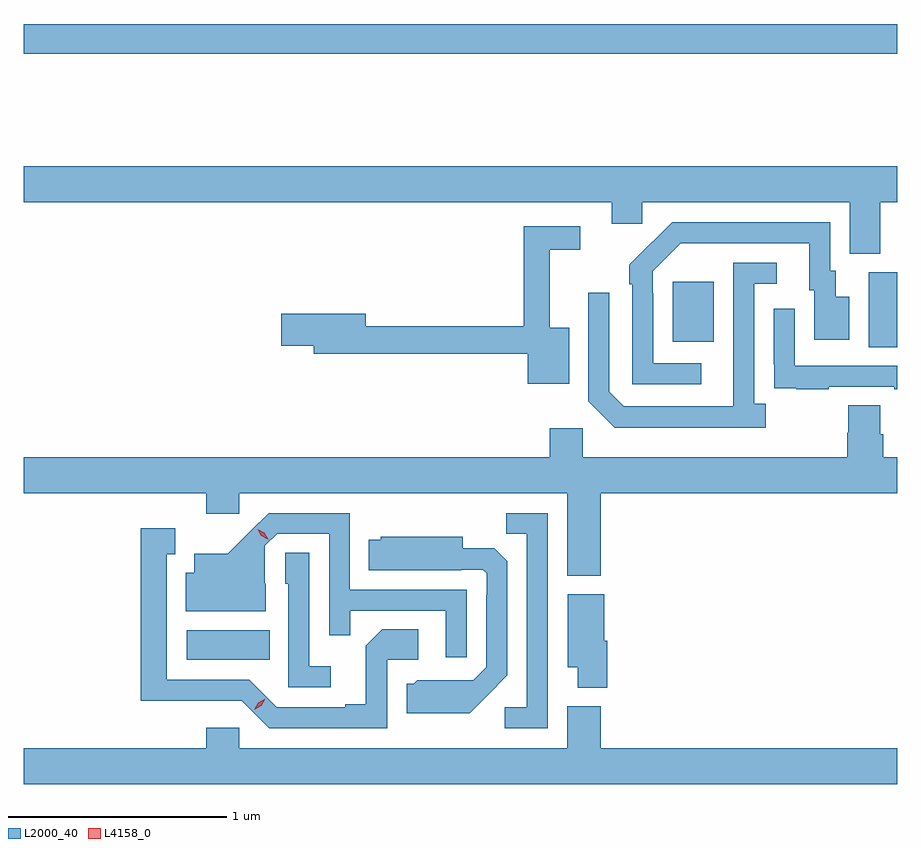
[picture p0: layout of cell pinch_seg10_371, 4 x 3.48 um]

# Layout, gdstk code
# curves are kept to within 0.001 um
import gdstk
lib = gdstk.Library(unit=1e-6, precision=1e-09)
def R(c, l, rs):  # rectangles x0, y0, x1, y1
    for r in rs: c.add(gdstk.rectangle(r[:2], r[2:], *l))
def P(c, l, *ps):  # polygons
    for p in ps: c.add(gdstk.Polygon(p, *l))
L2000_40 = (2000, 40)
L4158_0 = (4158, 0)

pinch_seg10_371 = lib.new_cell('pinch_seg10_371')
R(pinch_seg10_371, L2000_40, [(597.804,1256.93,598.184,1257.064), (600.926,1258.36,601.057,1258.704), (600.029,1258.385,600.217,1258.66), (597.057,1259.704,601.057,1259.84)])
P(pinch_seg10_371, L2000_40, [(600.979,1259.024),(601.057,1259.024),(601.057,1259.188),(597.057,1259.188),(597.057,1259.024),(599.75,1259.024),(599.75,1258.926),(599.889,1258.926),(599.889,1259.024),(600.839,1259.024),(600.839,1258.789),(600.979,1258.789)],
  [(600.16,1258.287),(599.94,1258.287),(599.94,1258.607),(599.937,1258.607),(599.937,1258.707),(600.066,1258.836),(600.653,1258.836),(600.653,1258.62),(600.677,1258.62),(600.677,1258.395),(600.838,1258.395),(600.838,1258.591),(600.775,1258.591),(600.775,1258.71),(600.75,1258.71),(600.75,1258.932),(600.026,1258.932),(599.829,1258.737),(599.829,1258.649),(599.844,1258.649),(599.844,1258.191),(600.16,1258.191)],
  [(599.554,1258.45),(599.465,1258.45),(599.465,1258.806),(599.605,1258.806),(599.605,1258.914),(599.347,1258.914),(599.347,1258.457),(598.624,1258.457),(598.624,1258.514),(598.236,1258.514),(598.236,1258.367),(598.385,1258.367),(598.385,1258.329),(599.366,1258.329),(599.366,1258.193),(599.554,1258.193)],
  [(600.454,1258.102),(600.402,1258.102),(600.402,1258.65),(600.505,1258.65),(600.505,1258.746),(600.306,1258.746),(600.305,1258.089),(599.805,1258.089),(599.739,1258.155),(599.739,1258.609),(599.643,1258.609),(599.643,1258.113),(599.764,1257.992),(600.454,1257.992)],
  [(600.743,1258.179),(601.043,1258.179),(601.043,1258.167),(601.057,1258.167),(601.057,1258.275),(600.588,1258.275),(600.588,1258.537),(600.492,1258.537),(600.492,1258.282),(600.493,1258.282),(600.493,1258.173),(600.595,1258.173),(600.595,1258.167),(600.743,1258.167)],
  [(599.699,1257.692),(601.057,1257.692),(601.057,1257.856),(600.992,1257.856),(600.992,1257.962),(600.979,1257.962),(600.979,1258.094),(600.832,1258.094),(600.832,1257.969),(600.827,1257.969),(600.827,1257.856),(599.616,1257.856),(599.616,1257.988),(599.465,1257.988),(599.465,1257.856),(597.057,1257.856),(597.057,1257.692),(597.893,1257.692),(597.893,1257.597),(598.044,1257.597),(598.044,1257.692),(599.546,1257.692),(599.546,1257.314),(599.699,1257.314)],
  [(599.457,1257.6),(599.266,1257.6),(599.266,1257.505),(599.361,1257.505),(599.361,1256.712),(599.259,1256.712),(599.259,1256.616),(599.457,1256.616)],
  [(599.085,1257.249),(598.551,1257.249),(598.551,1257.6),(598.178,1257.6),(597.991,1257.415),(597.839,1257.415),(597.839,1257.328),(597.8,1257.328),(597.8,1257.152),(598.165,1257.152),(598.165,1257.276),(598.161,1257.276),(598.161,1257.45),(598.218,1257.507),(598.455,1257.507),(598.455,1257.04),(598.553,1257.04),(598.553,1257.153),(598.989,1257.153),(598.989,1256.94),(599.085,1256.94)],
  [(598.722,1256.928),(598.864,1256.928),(598.864,1257.068),(598.699,1257.068),(598.623,1256.992),(598.623,1256.725),(598.529,1256.725),(598.529,1256.712),(598.215,1256.712),(598.089,1256.838),(597.712,1256.838),(597.712,1257.411),(597.751,1257.411),(597.751,1257.532),(597.594,1257.532),(597.594,1256.741),(598.056,1256.742),(598.182,1256.616),(598.722,1256.616)],
  [(599.179,1256.765),(599.271,1256.858),(599.271,1257.38),(599.212,1257.439),(599.068,1257.439),(599.068,1257.493),(598.692,1257.493),(598.692,1257.478),(598.636,1257.478),(598.636,1257.338),(599.06,1257.338),(599.06,1257.342),(599.16,1257.342),(599.178,1257.324),(599.178,1257.224),(599.175,1257.224),(599.175,1256.895),(599.115,1256.835),(598.858,1256.836),(598.842,1256.82),(598.811,1256.82),(598.811,1256.684),(599.099,1256.684)],
  [(598.462,1256.899),(598.365,1256.899),(598.365,1257.419),(598.254,1257.419),(598.254,1257.276),(598.269,1257.276),(598.269,1256.802),(598.462,1256.802)],
  [(599.729,1257.015),(599.716,1257.015),(599.716,1257.229),(599.549,1257.229),(599.549,1256.894),(599.594,1256.894),(599.594,1256.801),(599.729,1256.801)],
  [(601.057,1256.524),(599.699,1256.524),(599.699,1256.716),(599.546,1256.716),(599.546,1256.524),(598.044,1256.524),(598.044,1256.617),(597.893,1256.617),(597.893,1256.524),(597.057,1256.524),(597.057,1256.36),(601.057,1256.36)])
P(pinch_seg10_371, L4158_0, [(598.175,1257.48),(598.145,1257.496),(598.128,1257.526),(598.128,1257.526),(598.128,1257.526),(598.158,1257.511),(598.176,1257.481),(598.176,1257.48)],
  [(598.113,1256.7),(598.113,1256.7),(598.131,1256.732),(598.162,1256.751),(598.163,1256.751),(598.163,1256.751),(598.145,1256.718),(598.113,1256.7)])

lib.write_gds('pinch_seg10_371.gds')
